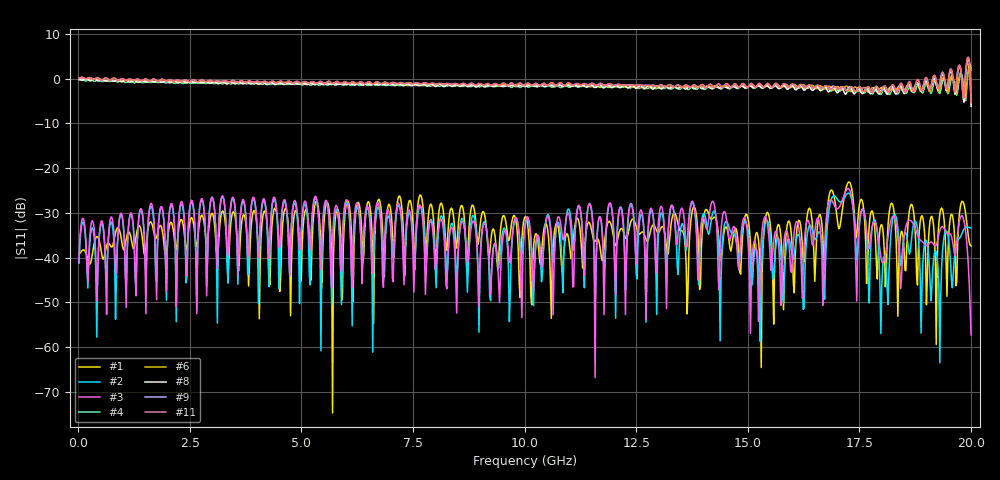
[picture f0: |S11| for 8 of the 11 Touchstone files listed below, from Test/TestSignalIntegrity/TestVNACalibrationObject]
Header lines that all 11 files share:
! https://github.com/TeledyneLeCroy/SignalIntegrity
# MHz S MA R 50.0
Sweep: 20 MHz to 20 GHz
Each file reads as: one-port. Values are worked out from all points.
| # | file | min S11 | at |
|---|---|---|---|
| 1 | TDRLoad1.s1p | -74.7 dB | 5.7 GHz |
| 2 | TDRLoad2.s1p | -63.5 dB | 19.3 GHz |
| 3 | TDRLoad3.s1p | -66.8 dB | 11.58 GHz |
| 4 | TDROpen1.s1p | -5.0 dB | 19.88 GHz |
| 5 | TDROpen2.s1p | -5.5 dB | 19.88 GHz |
| 6 | TDROpen3.s1p | -4.8 dB | 19.86 GHz |
| 7 | TDROpen4.s1p | -5.5 dB | 19.88 GHz |
| 8 | TDRShort1.s1p | -6.2 dB | 20 GHz |
| 9 | TDRShort2.s1p | -5.3 dB | 20 GHz |
| 10 | TDRShort3.s1p | -6.5 dB | 20 GHz |
| 11 | TDRShort4.s1p | -5.4 dB | 20 GHz |
